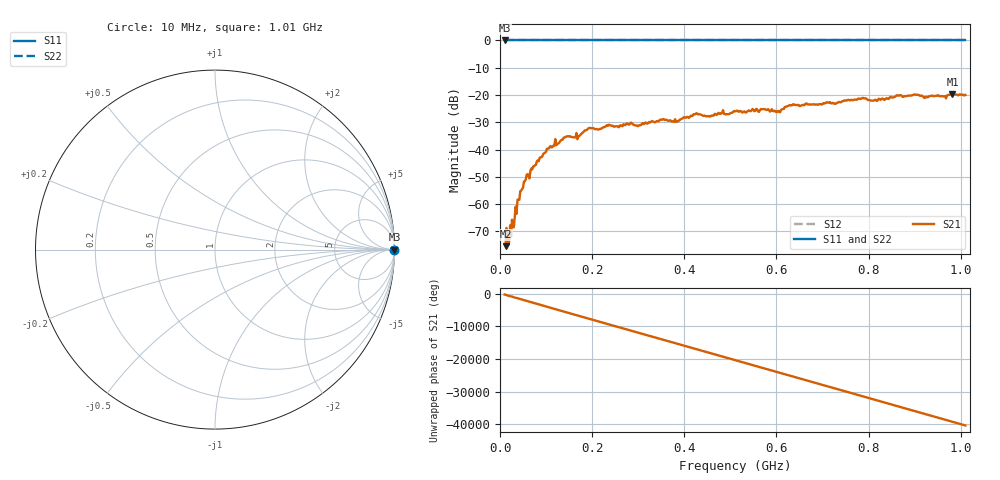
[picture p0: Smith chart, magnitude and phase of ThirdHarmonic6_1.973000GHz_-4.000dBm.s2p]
! 8/16/2025 11:43:50 PM
! C:\ANRITSUVNA\TEMP\TEMP.S2P
! CHANNEL.1
! TR.MEASUREMENT
! RAW.DATA
! RF.CORRECTION.OFF
! AVERAGING.OFF
! IF.BANDWIDTH: 5KHZ
! SWEEPTYPE:  FREQ.SWEEP(Linear)
! Reference Plane Port Info
! PORT:  PORT1  PORT2
! DISTANCE:  0  m  0  m
! TIME:  0  s  0  s
! PHASE.OFFSET:  0  deg.  0  deg.
! LOSS:  0  dB  0  dB
! REF.LOSS:  0  dB  0  dB
! REF.FREQ:  0  Hz  0  Hz
! Power Info
! POWER:  -20  dBm  -20  dBm
! EFF.POWER:  -20  dBm  -20  dBm
! SOURCE.ATTEN:  0  dB  0  dB
! TEST.ATTEN:  0  dB  0  dB
# GHZ S RI R 50.0
! FREQ.GHZ  S11RE  S11IM  S21RE  S21IM  S12RE  S12IM  S22RE  S22IM
!; PortSelection: Port_12
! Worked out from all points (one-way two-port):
!   501 points, 10 MHz to 1.01 GHz, reference 50 ohm
!   highest |S21| = -19.61 dB at 982 MHz (marker M1); lowest = -75.4 dB at 12 MHz (marker M2)
!   lowest |S11| = 0.0 dB at 10 MHz (marker M3)
!   |S11| at or under -10 dB: nowhere
!   |S22| runs from 0.0 to 0.0 dB; largest |S21 - S12| = 1.1
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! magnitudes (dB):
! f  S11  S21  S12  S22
! 10 MHz  0.0  -74.8  0.0  0.0
! 12 MHz  0.0  -75.4  0.0  0.0
! 20 MHz  0.0  -73.6  0.0  0.0
! 28 MHz  0.0  -68.4  0.0  0.0
! 42 MHz  0.0  -58.4  0.0  0.0
! 56 MHz  0.0  -51.0  0.0  0.0
! 70 MHz  0.0  -47.3  0.0  0.0
! 106 MHz  0.0  -39.6  0.0  0.0
! 142 MHz  0.0  -35.4  0.0  0.0
! 178 MHz  0.0  -34.0  0.0  0.0
! 196 MHz  0.0  -32.1  0.0  0.0
! 302 MHz  0.0  -31.1  0.0  0.0
! 344 MHz  0.0  -29.7  0.0  0.0
! 386 MHz  0.0  -29.7  0.0  0.0
! 424 MHz  0.0  -27.0  0.0  0.0
! 510 MHz  0.0  -26.0  0.0  0.0
! 604 MHz  0.0  -25.8  0.0  0.0
! 632 MHz  0.0  -23.8  0.0  0.0
! 678 MHz  0.0  -23.4  0.0  0.0
! 844 MHz  0.0  -21.4  0.0  0.0
! 982 MHz  0.0  -19.6  0.0  0.0
! 1.01 GHz  0.0  -20.0  0.0  0.0
